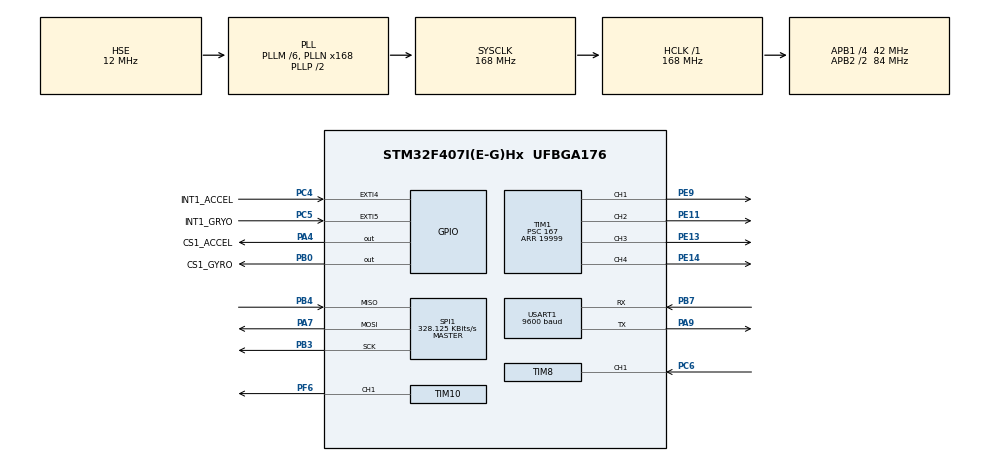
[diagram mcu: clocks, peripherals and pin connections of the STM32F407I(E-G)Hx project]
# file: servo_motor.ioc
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Dma.Request0=SPI1_RX
Dma.Request1=SPI1_TX
Dma.SPI1_RX.0.Direction=DMA_PERIPH_TO_MEMORY
Dma.SPI1_RX.0.FIFOMode=DMA_FIFOMODE_DISABLE
Dma.SPI1_RX.0.Instance=DMA2_Stream2
Dma.SPI1_RX.0.MemDataAlignment=DMA_MDATAALIGN_BYTE
Dma.SPI1_RX.0.MemInc=DMA_MINC_ENABLE
Dma.SPI1_RX.0.Mode=DMA_NORMAL
Dma.SPI1_RX.0.PeriphDataAlignment=DMA_PDATAALIGN_BYTE
Dma.SPI1_RX.0.PeriphInc=DMA_PINC_DISABLE
Dma.SPI1_RX.0.Priority=DMA_PRIORITY_VERY_HIGH
Dma.SPI1_TX.1.Direction=DMA_MEMORY_TO_PERIPH
Dma.SPI1_TX.1.FIFOMode=DMA_FIFOMODE_DISABLE
Dma.SPI1_TX.1.Instance=DMA2_Stream3
Dma.SPI1_TX.1.MemDataAlignment=DMA_MDATAALIGN_BYTE
Dma.SPI1_TX.1.MemInc=DMA_MINC_ENABLE
Dma.SPI1_TX.1.Mode=DMA_NORMAL
Dma.SPI1_TX.1.PeriphDataAlignment=DMA_PDATAALIGN_BYTE
Dma.SPI1_TX.1.PeriphInc=DMA_PINC_DISABLE
Dma.SPI1_TX.1.Priority=DMA_PRIORITY_HIGH
Mcu.Family=STM32F4
Mcu.Name=STM32F407I(E-G)Hx
Mcu.Package=UFBGA176
NVIC.DMA2_Stream2_IRQn=true\:5\:0\:true\:false\:false\:false\:false
NVIC.DMA2_Stream3_IRQn=true\:0\:0\:false\:false\:false\:false\:false
NVIC.EXTI4_IRQn=true\:0\:0\:false\:false\:true\:true\:true
NVIC.EXTI9_5_IRQn=true\:0\:0\:false\:false\:true\:true\:true
NVIC.PriorityGroup=NVIC_PRIORITYGROUP_4
NVIC.TIM8_CC_IRQn=true\:0\:0\:false\:false\:true\:true\:true
NVIC.USART1_IRQn=true\:0\:0\:false\:false\:true\:true\:true
PA13.Mode=Serial_Wire
PA13.Signal=SYS_JTMS-SWDIO
PA14.Mode=Serial_Wire
PA14.Signal=SYS_JTCK-SWCLK
PA4.GPIO_Label=CS1_ACCEL
PA4.GPIO_ModeDefaultOutputPP=GPIO_MODE_OUTPUT_PP
PA4.GPIO_PuPd=GPIO_PULLUP
PA4.GPIO_Speed=GPIO_SPEED_FREQ_HIGH
PA4.PinState=GPIO_PIN_SET
PA4.Signal=GPIO_Output
PA7.Mode=Full_Duplex_Master
PA7.Signal=SPI1_MOSI
PA9.Mode=Asynchronous
PA9.Signal=USART1_TX
PB0.GPIO_Label=CS1_GYRO
PB0.GPIO_PuPd=GPIO_PULLUP
PB0.GPIO_Speed=GPIO_SPEED_FREQ_HIGH
PB0.PinState=GPIO_PIN_SET
PB0.Signal=GPIO_Output
PB3.Mode=Full_Duplex_Master
PB3.Signal=SPI1_SCK
PB4.Mode=Full_Duplex_Master
PB4.Signal=SPI1_MISO
PB7.Mode=Asynchronous
PB7.Signal=USART1_RX
PC4.GPIO_Label=INT1_ACCEL
PC4.GPIO_ModeDefaultEXTI=GPIO_MODE_IT_FALLING
PC4.GPIO_PuPd=GPIO_PULLUP
PC4.Signal=GPXTI4
PC5.GPIO_Label=INT1_GRYO
PC5.GPIO_ModeDefaultEXTI=GPIO_MODE_IT_FALLING
PC5.GPIO_PuPd=GPIO_PULLUP
PC5.Signal=GPXTI5
PC6.GPIO_PuPd=GPIO_PULLUP
PC6.GPIO_Speed=GPIO_SPEED_FREQ_HIGH
PC6.Signal=S_TIM8_CH1
PE11.GPIO_PuPd=GPIO_PULLUP
PE11.GPIO_Speed=GPIO_SPEED_FREQ_HIGH
PE11.Signal=S_TIM1_CH2
PE13.GPIO_PuPd=GPIO_PULLUP
PE13.GPIO_Speed=GPIO_SPEED_FREQ_HIGH
PE13.Signal=S_TIM1_CH3
PE14.GPIO_PuPd=GPIO_PULLUP
PE14.GPIO_Speed=GPIO_SPEED_FREQ_HIGH
PE14.Signal=S_TIM1_CH4
PE9.GPIO_PuPd=GPIO_PULLUP
PE9.GPIO_Speed=GPIO_SPEED_FREQ_HIGH
PE9.Signal=S_TIM1_CH1
PF6.GPIO_PuPd=GPIO_PULLUP
PF6.GPIO_Speed=GPIO_SPEED_FREQ_HIGH
PF6.Signal=S_TIM10_CH1
PH0-OSC_IN.Mode=HSE-External-Oscillator
PH0-OSC_IN.Signal=RCC_OSC_IN
PH1-OSC_OUT.Mode=HSE-External-Oscillator
PH1-OSC_OUT.Signal=RCC_OSC_OUT
PI7.GPIO_PuPd=GPIO_PULLUP
PI7.GPIO_Speed=GPIO_SPEED_FREQ_HIGH
PI7.Signal=S_TIM8_CH3
ProjectManager.HeapSize=0x2000
ProjectManager.StackSize=0x2000
ProjectManager.TargetToolchain=MDK-ARM V5
RCC.48MHZClocksFreq_Value=48000000
RCC.AHBFreq_Value=168000000
RCC.APB1CLKDivider=RCC_HCLK_DIV4
RCC.APB1Freq_Value=42000000
RCC.APB1TimFreq_Value=84000000
RCC.APB2CLKDivider=RCC_HCLK_DIV2
RCC.APB2Freq_Value=84000000
RCC.APB2TimFreq_Value=168000000
RCC.CortexFreq_Value=168000000
RCC.HCLKFreq_Value=168000000
RCC.HSE_VALUE=12000000
RCC.HSI_VALUE=16000000
RCC.LSE_VALUE=32768
RCC.PLLM=6
RCC.PLLN=168
RCC.PLLQ=7
RCC.PLLSourceVirtual=RCC_PLLSOURCE_HSE
RCC.RCC_RTC_Clock_SourceVirtual=RCC_RTCCLKSOURCE_HSE_DIV30
RCC.RCC_RTC_Clock_Source_FROM_HSE=RCC_RTCCLKSOURCE_HSE_DIV30
RCC.SYSCLKFreq_VALUE=168000000
RCC.SYSCLKSource=RCC_SYSCLKSOURCE_PLLCLK
RCC.VCOOutputFreq_Value=336000000
SH.S_TIM10_CH1.0=TIM10_CH1,PWM Generation1 CH1
SH.S_TIM1_CH1.0=TIM1_CH1,PWM Generation1 CH1
SH.S_TIM1_CH2.0=TIM1_CH2,PWM Generation2 CH2
SH.S_TIM1_CH3.0=TIM1_CH3,PWM Generation3 CH3
SH.S_TIM1_CH4.0=TIM1_CH4,PWM Generation4 CH4
SH.S_TIM8_CH1.0=TIM8_CH1,Input_Capture1_from_TI1
SH.S_TIM8_CH3.0=TIM8_CH3
SPI1.BaudRatePrescaler=SPI_BAUDRATEPRESCALER_256
SPI1.CLKPhase=SPI_PHASE_2EDGE
SPI1.CLKPolarity=SPI_POLARITY_HIGH
SPI1.CalculateBaudRate=328.125 KBits/s
SPI1.Direction=SPI_DIRECTION_2LINES
SPI1.Mode=SPI_MODE_MASTER
SPI1.VirtualType=VM_MASTER
TIM1.Channel-PWM\ Generation1\ CH1=TIM_CHANNEL_1
TIM1.Channel-PWM\ Generation2\ CH2=TIM_CHANNEL_2
TIM1.Channel-PWM\ Generation3\ CH3=TIM_CHANNEL_3
TIM1.Channel-PWM\ Generation4\ CH4=TIM_CHANNEL_4
TIM1.Period=19999
TIM1.Prescaler=167
TIM1.Pulse-PWM\ Generation1\ CH1=2000
TIM1.Pulse-PWM\ Generation2\ CH2=2000
TIM1.Pulse-PWM\ Generation3\ CH3=2000
TIM1.Pulse-PWM\ Generation4\ CH4=2000
TIM10.Channel=TIM_CHANNEL_1
TIM10.Period=4999
TIM8.Channel-Input_Capture1_from_TI1=TIM_CHANNEL_1
TIM8.Period=0xffff
TIM8.Prescaler=2564
USART1.BaudRate=9600
USART1.VirtualMode=VM_ASYNC
VP_TIM10_VS_ClockSourceINT.Mode=Enable_Timer
VP_TIM1_VS_ClockSourceINT.Mode=Internal
board=custom

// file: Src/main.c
/* USER CODE BEGIN Header */
/**
  ******************************************************************************
  * @file           : main.c
  * @brief          : Main program body
  ******************************************************************************
  * @attention
  *
  * <h2><center>&copy; Copyright (c) 2019 STMicroelectronics.
  * All rights reserved.</center></h2>
  *
  * This software component is licensed by ST under BSD 3-Clause license,
  * the "License"; You may not use this file except in compliance with the
  * License. You may obtain a copy of the License at:
  *                        opensource.org/licenses/BSD-3-Clause
  *
  ******************************************************************************
  */
/* USER CODE END Header */
#include "main.h"
#include "dma.h"
#include "spi.h"
#include "tim.h"
#include "usart.h"
#include "gpio.h"

/* USER CODE BEGIN Includes */
#include <stdio.h>
#include <stdbool.h>
#include <stdarg.h>
#include "string.h"
#include "BMI088driver.h"
#include "ANO.h"
#include "host.h"
#include "mbotLinuxUsart.h"//引用该头文件是使用，通信协议的前提
/* USER CODE END Includes */

void SystemClock_Config(void);

/* USER CODE BEGIN 0 */

//I'd like to thank this author who did me such a huge favour in pwm capture.
//https://controllerstech.com/how-to-use-input-capture-in-stm32/
//for ANO, I learnt from this tutorial
//https://www.bilibili.com/video/BV1cJ411N7P4/?spm_id_from=333.788.videocard.6

//----------------------------IMU-----------------------------------------------------//
fp32 gyro[3], accel[3], temp;

//--------------------------ros-----------------------------------------------------//
//测试发送变量
short testSend1   =5000;
short testSend2   =2000;
short testSend3   =1000;
unsigned char testSend4 = 0x05;

//测试接收变量
int testRece1     =0;
int testRece2     =0;
unsigned char testRece3 = 0x00;

union sendData_t
{
	short d;
	unsigned char data[2];
}leftVel,rightVel,angle;

//左右轮速控制速度共用体
union receiveData_t
{
	short d;
	unsigned char data[2];
}left,right;

//--------------------------ros_END-----------------------------------------------------//

//-------------------------------------------------ANO--------------------------------------------------------------------------------------//

int trans_scale_gyro = 1e5;
int trans_scale_acce = 1e3;
#define BYTE0(dwTemp) (*( (char *)(&dwTemp)     ))
#define BYTE1(dwTemp) (*( (char *)(&dwTemp)+1     ))
#define BYTE2(dwTemp) (*( (char *)(&dwTemp)+2    ))
#define BYTE3(dwTemp) (*( (char *)(&dwTemp)+3    ))

//signed int ANO
uint8_t testdatatosend[50];
void TestSendData(uint8_t *dataToSend, uint8_t length);
void Test_Send_User (int16_t data1, int16_t data2, int16_t data3,
					int16_t data4, int16_t data5, int16_t data6,
					int16_t data7,int16_t data8,int16_t data9,
					int16_t data10);

//-------------------------------------------ANO_END---------------------------------------//

//---------------------------------------------MODBUS--------------------------------------//
MODBUS_TABLE modbus_table = {0};
void modbus_send(void);
//---------------------------------------------MODBUS_END--------------------------------------//

//-----------------------------------------UART_RECEIVE_TEST----------------------------//
uint8_t len;
uint16_t times_rece_it=0;
//-----------------------------------------UART_RECEIVE_TEST_END----------------------------//

//testing
uint16_t cont1 =0;
uint8_t flip=0;
uint8_t times=0;
float t_pwm = 1600;
uint16_t ref_hz = 300;

//capture freq
char str[12];
char str2[12];
float main_clock_freq = 168e6;
uint16_t psc_val = 2564;     ///range = 1hz to 13kHZ
uint16_t ARR_val = 0xffff;
float timer_counting_freq;
float IC_Value1=0.0;
float IC_Value2=0.0;
float Diff = 0.0;
float freq = 0.0;
uint8_t Is_first_capture=0; //0-not captured, 1- captured

//pid part
float freq_to_m_rpm;
float motor_to_wheel;
float e_pre=0;
float e_now=0;
float delta_e=0;
float delta_t=1;  //This is changing, hard to capture?
float I_e=0;
float kp=0.0001;
float ki=0.00005;
float kd=0.00001;

void HAL_TIM_IC_CaptureCallback(TIM_HandleTypeDef *htim) //FOR capturing motor pwm. tim8 ch1
{
	if(htim->Channel == HAL_TIM_ACTIVE_CHANNEL_1) //If tim8 ch1 prompts an interrupt
	{
		if(Is_first_capture==0) //if first captured?
		{
			IC_Value1=HAL_TIM_ReadCapturedValue(htim,TIM_CHANNEL_1); //Read the timestamp
			Is_first_capture=1;
		}

		else if (Is_first_capture) //not the first capture
		{
			IC_Value2 = HAL_TIM_ReadCapturedValue(htim,TIM_CHANNEL_1); //Record the second capture
			if(IC_Value2 > IC_Value1)
								      /*
										Since we have adjusted psc to make sure
										the time difference between the two values are smaller
										than the time needed for counter to count from 0 to arr,
										then there are only two cases: IC2 and IC1 are on the same slope
										in which IC2 >ic1
										OR, IC2 and ic1 are on different slope in which ic2 MUST be smaller
										than ic1
										*/
			{
				Diff = IC_Value2 - IC_Value1;
			}
			else if(IC_Value2 < IC_Value1) //On different slope
			{
				Diff=((ARR_val-IC_Value1)+IC_Value2) +1; //i don't understand why plus 1;
			}
			else
			{
				Error_Handler();  //Built in hal func for which i have no idea what it is doing
			}
			//freq = (168e6/72)/Diff;
			freq = (timer_counting_freq)/Diff;
									/*
									//for psc = 72
									//168e6/72 is the freq of the timer, where 72 is the psc
									//168e6/72 gives how quick the counter is counting from 0 to ARR
									//So the timer counts every (72/168e6=4.2e-7) seconds and takes
									// 4.2e-7 *ARR(65536) = 0.028 seconds to reach ARR
									//So we need to make sure that the time difference between two
									//rising edge is within 0.028 seconds(as in this mode
									//when rising edge is detected and this function is called,
									// the current counting number will not be reset to zero)
									//otherwise the algo will fail
									//in other words, the minimum freq that we can detect
									// is (168e6/72)/ARR = 35.6 = 1/0.028
									//If the minimum freq required is even lower, we can adjust
									// the psc (72 here) to lower the mini detectable freq
									//The max detectable freq is the counting freq of the tim
									//or for a better precision 2 or 3 or 5times lower than
									// the couting freq of the tim
									//so here maxf = (168e6/72)/accurate_factor(5) = 466 kHz.
									//so detectable range is 35.6 to 466 khz

									//for psc = 2564  range = 1hz to 13kHZ
									//Might change to this psc in the future---- did --very good result
									*/

			Is_first_capture =0; //reset ready for next capture.
		}

	}
}
/* USER CODE END 0 */

int main(void)
{

  /* MCU Configuration--------------------------------------------------------*/

  /* Reset of all peripherals, Initializes the Flash interface and the Systick. */
  HAL_Init();

  /* Configure the system clock */
  SystemClock_Config();

  /* Initialize all configured peripherals */
  MX_GPIO_Init();
  MX_DMA_Init();
  MX_TIM8_Init();
  MX_TIM1_Init();
  MX_USART1_UART_Init();
  MX_SPI1_Init();
  MX_TIM10_Init();
  /* USER CODE BEGIN 2 */
	while(BMI088_init())  //Init the IMU
    {
        ;
    }

    HAL_TIM_Base_Start(&htim1);
    HAL_TIM_PWM_Start(&htim1, TIM_CHANNEL_1);
    HAL_TIM_PWM_Start(&htim1, TIM_CHANNEL_2);
    HAL_TIM_PWM_Start(&htim1, TIM_CHANNEL_3);
	__HAL_TIM_SetCompare(&htim1, TIM_CHANNEL_1, 1500);
	__HAL_TIM_SetCompare(&htim1, TIM_CHANNEL_2, 1500);
	//Tim8 ch1 for capture
	HAL_TIM_IC_Start_IT(&htim8,TIM_CHANNEL_1);
	__HAL_UART_ENABLE_IT(&huart1,UART_IT_TC); /////Must have this !!!!!!!!
	timer_counting_freq = main_clock_freq/psc_val;
	HAL_Delay(3000);
	//__HAL_TIM_SetCompare(&htim1, TIM_CHANNEL_1, 1600);
	//HAL_Delay(3000);
  /* USER CODE END 2 */

  /* Infinite loop */
  /* USER CODE BEGIN WHILE */
  while (1)
  {

/*
//20ms ARR 20000
//1600 motor: low back , wheel small to left (driver view) ----- 1.6ms ----------never give motor value greater than 1500
//1400 motor: low forward, wheel small to left -------------------1.4ms

//wheel
//left max-----1800 ----1.8ms
//right max ---- 1100  --- 1.2ms

//motor
//1500 zero ----------------------1.5ms   ------- 0hz
//2000 max ------------------------2ms -- forward  ---- 753~761hz
//could be higher
//never put value smaller than 1500;
  */

/*
//---------------------------------------Old_print_func-------------------------------------------//

//		sprintf(str2, "%d", ref_hz);
//		sprintf(str, "%f", freq);
//
//		//HAL_UART_Transmit(&huart1, "Actual:", 12, 100);
//		HAL_UART_Transmit(&huart1, str, 12, 100);
//		HAL_UART_Transmit(&huart1, "    \r\n", 12, 100);
//
//		//HAL_UART_Transmit(&huart1, "ref:", 12, 100);
//		HAL_UART_Transmit(&huart1, str2, 12, 100);
//		HAL_UART_Transmit(&huart1, "    \r\n", 12, 100);
//---------------------------------------Old_print_func-------------------------------------------//
*/

//-------------------------------------PID_adjust----------------------------------------------//
//	if(flip==0)
//	{
//		cont1 ++;
//		if (cont1 >100)
//			{
//				ref_hz +=600;
//				if(ref_hz<700)
//				{
//					ref_hz = ref_hz;
//				}
//				else
//				{
//					ref_hz =400;
//				}
//
//				times ++;
//
//				if(times >1)
//				{
//					flip=1;
//					times = 0;
//				}
//
//
//				cont1 = 0;
//			}
//
//	}
//
//	if(flip==1)
//	{
//		cont1 ++;
//		if (cont1 >100)
//			{
//				ref_hz -=600;
//				if(ref_hz<701 && ref_hz>200)
//				{
//					ref_hz = ref_hz;
//				}
//				else
//				{
//					ref_hz =200;
//				}
//
//				times ++;
//
//				if(times >1)
//				{
//					flip=0;
//					times = 0;
//				}
//
//				cont1 = 0;
//			}
//
//	}

//--------------------------------------------PID_adjust------------------------------------------------//

//-------------------------------------PID----------------------------------------------------//

//	e_pre = e_now; // a possible bug here
//
//	e_now = ref_hz - freq;  //positive means low speed, so kp is positive
//	I_e += e_now;   //ki positive

//	delta_e = (e_now - e_pre)/delta_t;   /// watch sign   ---- possible bugs here
//	//if the gradient is increasing

//	t_pwm = kp*e_now + ki*I_e + kd*delta_e;
//	if(t_pwm>1.0)
//	{
//		t_pwm = 1.0;
//	}
//	if(t_pwm<-1.0) t_pwm=-1.0;
//
//	t_pwm =1500 + t_pwm*500; //motor moves forward range: 1500 to 2000  (1.5ms to 2ms)
//	if(t_pwm<1500) t_pwm=1500;
//	if(t_pwm>2000) t_pwm=2000;
//	__HAL_TIM_SetCompare(&htim1, TIM_CHANNEL_1, t_pwm);
//-------------------------------------PID_END----------------------------------------------------//

//---------------------------------------IMU----------------------------------------------//
    BMI088_read(gyro, accel, &temp);

//---------------------------------------IMU_END----------------------------------------------//

//--------------------------------------ANO-----------------------------------------------//
//	HAL_Delay(20);  //20ms
//	gyro[0] *= trans_scale_gyro;
//	gyro[1] *= trans_scale_gyro;
//	gyro[2] *= trans_scale_gyro;
//	accel[0] *= trans_scale_acce;
//	accel[1] *= trans_scale_acce;
//	accel[2] *= trans_scale_acce;
//
	//Test_Send_User(ref_hz,freq,gyro[0],gyro[1],gyro[2],accel[0],accel[1],accel[2],temp,10);

//--------------------------------------ANO_END-----------------------------------------------//

//-------------------------------------------MODBUS---------------------------------------//

	//modbus_send();
	//HAL_Delay(500);
//-------------------------------------------MODBUS_END---------------------------------------//

//---------------------------------TEST_UART_RECEIVE--------------------------------------------//
       if(USART_RX_STA&0x8000)
		{
			//uint8_t USART_Receiver[200];          //接收数据
			//len=USART_RX_STA&0x3fff;//得到此次接收到的数据长度
			//printf("\r\nThe msg you are sending is:\r\n");
			//HAL_UART_Transmit(&huart1,(uint8_t*)&USART_RX_BUF,len,1);	//发送接收到的数据
			//while(__HAL_UART_GET_FLAG(&huart1,UART_FLAG_TC)!=SET);		//等待发送结束
			//printf("\r\n\r\n");//插入换行
			//USART_RX_STA=0;
			//testRece1++;
			//USART_Receiver = *USART_RX_BUF;
			//usartReceiveOneData(&testRece1,&testRece2,&testRece3);
			//usartSendData(USART_Receiver[1],USART_RX_BUF[1],USART_RX_BUF[5],testSend4);
			//usartSendData(testRece1,testRece2,testRece3,testSend4);

			//unsigned char USART_Receiver              = 0;          //接收数据
			static unsigned char checkSum             = 0;
			static short j=0,k=0;
			static short dataLength                   = 0;
			bool yes =1;

		    unsigned char  receiveBuff[16] = {0};    //16 bytes each byte has 8 bits  [i]means one byte area
			//通信协议常量
		    const unsigned char header[2]  = {0x55, 0xaa};
			//const unsigned char ender[2]   = {0x0d, 0x0a};

			receiveBuff[0]=header[0];         //buf[0]
			receiveBuff[1]=header[1];         //buf[1]
			checkSum = 0x00;				  //校验和初始化
			receiveBuff[2]=USART_RX_BUF[2];         //buf[1] //数据的长度
			dataLength = receiveBuff[2];
			for(j=0;j<dataLength;j++)
				receiveBuff[j+3] = USART_RX_BUF[j+3];  //data length is 5 bytes  two var have two bytes each
														// one variable has one byte: the ctrlFlag
			receiveBuff[3+dataLength] = USART_RX_BUF[3+dataLength];  //buff[8]
			checkSum = getCrc8(receiveBuff,3 + dataLength);  //try getCrc8(&receiveBuff
			if(checkSum != receiveBuff[3+dataLength])
				{
					printf("crc8 error");
					yes = 0;
					return 0;
				}

			if(yes)
			{
				receiveBuff[3+dataLength+1] = USART_RX_BUF[3+dataLength+1];  //get 0x0d
				receiveBuff[3+dataLength+2] = USART_RX_BUF[3+dataLength+2];  //get 0x0a
				for (k=0; k<2; k++)
					{
						left.data[k] = receiveBuff[k+3];
						right.data[k] = receiveBuff[k+5];
					}
				testRece1 = (int) left.d;
				testRece2 = (int) right.d;
				testRece3 = receiveBuff[3+dataLength-1];
			}

			//-----------------------------------------------------------------
			//完成一个数据包的接收，相关变量清零，等待下一字节数据
			checkSum = 0;
			dataLength=0;
			j=0;
			k=0;
			yes=1;

			usartSendData(testRece1,testRece2,testRece3,testSend4);
		}

		//else
		//{
//			times++;
//			if(times%5000==0)
//			{
//				printf("\r\nALIENTEK\r\n");
//				printf("ALIENTEK\r\n\r\n\r\n");
//			}
//			if(times%2==0)printf("please input msg\r\n");
//			//if(times%30==0)LED0=!LED0;//闪烁LED,提示系统正在运行.
//			HAL_Delay(1000);
		//}
	HAL_Delay(20);
//---------------------------------TEST_UART_RECEIVE_END--------------------------------------------//

//while end scope
	}

    /* USER CODE END WHILE */

}

void SystemClock_Config(void)
{
  RCC_OscInitTypeDef RCC_OscInitStruct = {0};
  RCC_ClkInitTypeDef RCC_ClkInitStruct = {0};

  /** Configure the main internal regulator output voltage
  */
  __HAL_RCC_PWR_CLK_ENABLE();
  __HAL_PWR_VOLTAGESCALING_CONFIG(PWR_REGULATOR_VOLTAGE_SCALE1);
  /** Initializes the RCC Oscillators according to the specified parameters
  * in the RCC_OscInitTypeDef structure.
  */
  RCC_OscInitStruct.OscillatorType = RCC_OSCILLATORTYPE_HSE;
  RCC_OscInitStruct.HSEState = RCC_HSE_ON;
  RCC_OscInitStruct.PLL.PLLState = RCC_PLL_ON;
  RCC_OscInitStruct.PLL.PLLSource = RCC_PLLSOURCE_HSE;
  RCC_OscInitStruct.PLL.PLLM = 6;
  RCC_OscInitStruct.PLL.PLLN = 168;
  RCC_OscInitStruct.PLL.PLLP = RCC_PLLP_DIV2;
  RCC_OscInitStruct.PLL.PLLQ = 7;
  if (HAL_RCC_OscConfig(&RCC_OscInitStruct) != HAL_OK)
  {
    Error_Handler();
  }
  /** Initializes the CPU, AHB and APB buses clocks
  */
  RCC_ClkInitStruct.ClockType = RCC_CLOCKTYPE_HCLK|RCC_CLOCKTYPE_SYSCLK
                              |RCC_CLOCKTYPE_PCLK1|RCC_CLOCKTYPE_PCLK2;
  RCC_ClkInitStruct.SYSCLKSource = RCC_SYSCLKSOURCE_PLLCLK;
  RCC_ClkInitStruct.AHBCLKDivider = RCC_SYSCLK_DIV1;
  RCC_ClkInitStruct.APB1CLKDivider = RCC_HCLK_DIV4;
  RCC_ClkInitStruct.APB2CLKDivider = RCC_HCLK_DIV2;

  if (HAL_RCC_ClockConfig(&RCC_ClkInitStruct, FLASH_LATENCY_5) != HAL_OK)
  {
    Error_Handler();
  }
}

/* USER CODE BEGIN 4 */

//--------------------------------------ANO-----------------------------------------------//

///*
void TestSendData(uint8_t *dataToSend, uint8_t length)
{
	HAL_UART_Transmit(&huart1,(uint8_t *)&testdatatosend, length, 0xffff);
}

void Test_Send_User (int16_t data1, int16_t data2, int16_t data3,
					int16_t data4, int16_t data5, int16_t data6,
					int16_t data7,int16_t data8,int16_t data9,
					int16_t data10)
{
	uint8_t _cnt=0;
	testdatatosend[_cnt++]=0xAA; //head
	testdatatosend[_cnt++]=0x05;  //target address
	testdatatosend[_cnt++]=0xAF; //receriver add ??  these two are default -- don't need to change
	testdatatosend[_cnt++]=0xF1;  //function id --- just choice F1
	testdatatosend[_cnt++]=0;   // length of data --  set to zero for now

	testdatatosend[_cnt++]=BYTE1(data1);
	testdatatosend[_cnt++]=BYTE0(data1);

	testdatatosend[_cnt++]=BYTE1(data2);
	testdatatosend[_cnt++]=BYTE0(data2);

	testdatatosend[_cnt++]=BYTE1(data3);
	testdatatosend[_cnt++]=BYTE0(data3);

	testdatatosend[_cnt++]=BYTE1(data4);
	testdatatosend[_cnt++]=BYTE0(data4);

	testdatatosend[_cnt++]=BYTE1(data5);
	testdatatosend[_cnt++]=BYTE0(data5);

	testdatatosend[_cnt++]=BYTE1(data6);
	testdatatosend[_cnt++]=BYTE0(data6);

	testdatatosend[_cnt++]=BYTE1(data7);
	testdatatosend[_cnt++]=BYTE0(data7);

	testdatatosend[_cnt++]=BYTE1(data8);
	testdatatosend[_cnt++]=BYTE0(data8);

	testdatatosend[_cnt++]=BYTE1(data9);
	testdatatosend[_cnt++]=BYTE0(data9);

	testdatatosend[_cnt++]=BYTE1(data10);
	testdatatosend[_cnt++]=BYTE0(data10);

	testdatatosend[4] = _cnt - 5;    //the fifth bit [4] stores the length of data, we set this to zero initially, now we need to calculate
									//_cnt stores the length of the whole signal up till now, we minus 5(the first five bits eg header, target address balalla to get the length of data
									//see
									//https://www.bilibili.com/video/BV1TJ411r7a3?from=search&seid=16506637512618591906
									//

	uint8_t sum = 0;

	for(uint8_t i=0; i<_cnt; i++)
		sum += testdatatosend[i];

	testdatatosend[_cnt++]=sum;   //sum is the sum check bits, the last bits in the signal

	TestSendData(testdatatosend, _cnt);
}

//--------------------------------------ANO_END-----------------------------------------------//

//---------------------------------MODBUS-----------------------------------------------------//
void modbus_send(void)
{
	static uint8_t feedback_buff[128] = {0};
    static uint32_t bufflen = 0;
	modbus_table.degree = temp;
	modbus_table.acce_x = accel[0]*trans_scale_acce;
	modbus_table.acce_y = accel[1]*trans_scale_acce;
	modbus_table.acce_z = accel[2]*trans_scale_acce;
	//modbus_table.
	modbus_feedback(&modbus_table, 0x02, 6, feedback_buff, &bufflen);
	HAL_UART_Transmit(&huart1, feedback_buff, bufflen, 5000);
}
//---------------------------------MODBUS_END-----------------------------------------------------//

/* USER CODE END 4 */

void Error_Handler(void)
{
}

/************************ (C) COPYRIGHT STMicroelectronics *****END OF FILE****/
